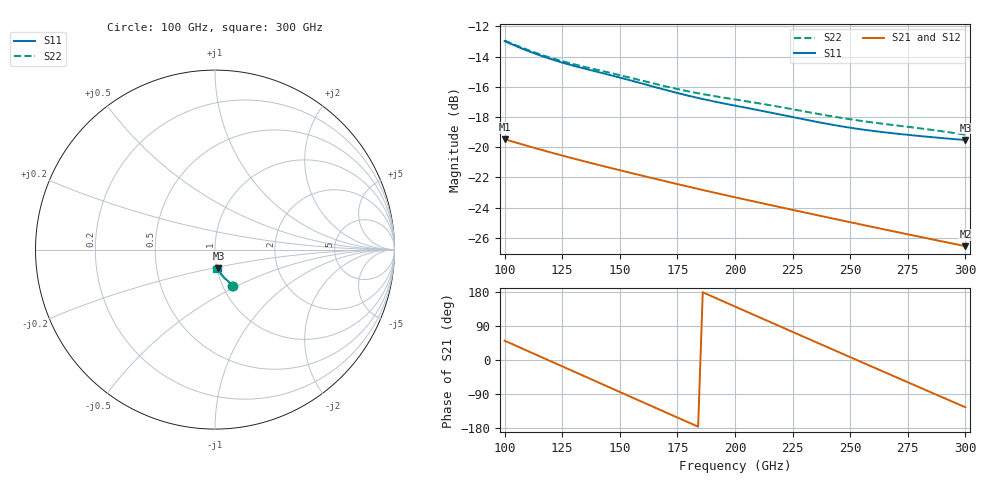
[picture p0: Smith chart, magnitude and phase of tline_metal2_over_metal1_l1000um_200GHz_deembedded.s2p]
! Created with skrf 2.2.0 (http://scikit-rf.org).
# GHz S DB R 50.0
! Port[1] = P1
! Port[2] = P2
!freq dBS11 angS11 dBS21 angS21 dBS12 angS12 dBS22 angS22
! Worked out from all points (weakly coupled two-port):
!   101 points, 100 GHz to 300 GHz, reference 50 ohm
!   highest |S21| = -19.46 dB at 100 GHz (marker M1); lowest = -26.5 dB at 300 GHz (marker M2)
!   lowest |S11| = -19.5 dB at 300 GHz (marker M3), VSWR 1.24, Z = 50.8 - j10.7 ohm
!   |S11| at or under -10 dB: start of sweep to end of sweep
!   |S22| runs from -19.2 to -12.9 dB; largest |S21 - S12| = 9.9e-14
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100  -12.98 -64.5  -19.46 50.9  -19.46 50.9  -12.93 -64.0
108  -13.49 -65.8  -19.83 29.3  -19.83 29.3  -13.43 -65.2
116  -13.95 -66.7  -20.17 7.6  -20.17 7.6  -13.88 -66.1
124  -14.35 -67.5  -20.51 -14.0  -20.51 -14.0  -14.26 -66.9
134  -14.77 -68.7  -20.91 -41.1  -20.91 -41.1  -14.65 -68.0
142  -15.08 -69.7  -21.22 -62.7  -21.22 -62.7  -14.94 -69.0
150  -15.39 -70.9  -21.52 -84.4  -21.52 -84.4  -15.23 -70.2
158  -15.71 -72.1  -21.82 -106.0  -21.82 -106.0  -15.53 -71.4
168  -16.13 -73.3  -22.18 -132.9  -22.18 -132.9  -15.90 -72.6
176  -16.45 -74.1  -22.47 -154.5  -22.47 -154.5  -16.18 -73.5
184  -16.74 -74.7  -22.76 -176.0  -22.76 -176.0  -16.42 -74.2
192  -17.00 -75.3  -23.04 162.5  -23.04 162.5  -16.64 -75.0
200  -17.24 -75.9  -23.31 141.1  -23.31 141.1  -16.84 -75.9
208  -17.48 -76.6  -23.58 119.7  -23.58 119.7  -17.03 -76.9
216  -17.72 -77.3  -23.85 98.2  -23.85 98.2  -17.24 -78.0
224  -17.97 -77.9  -24.11 76.8  -24.11 76.8  -17.45 -79.1
234  -18.27 -78.4  -24.44 50.2  -24.44 50.2  -17.73 -80.2
250  -18.71 -78.8  -24.96 7.5  -24.96 7.5  -18.15 -81.7
258  -18.88 -78.9  -25.22 -13.7  -25.22 -13.7  -18.32 -82.4
268  -19.06 -79.0  -25.54 -40.2  -25.54 -40.2  -18.52 -83.3
284  -19.31 -79.3  -26.04 -82.6  -26.04 -82.6  -18.82 -85.1
300  -19.52 -79.7  -26.55 -124.7  -26.55 -124.7  -19.17 -87.0
